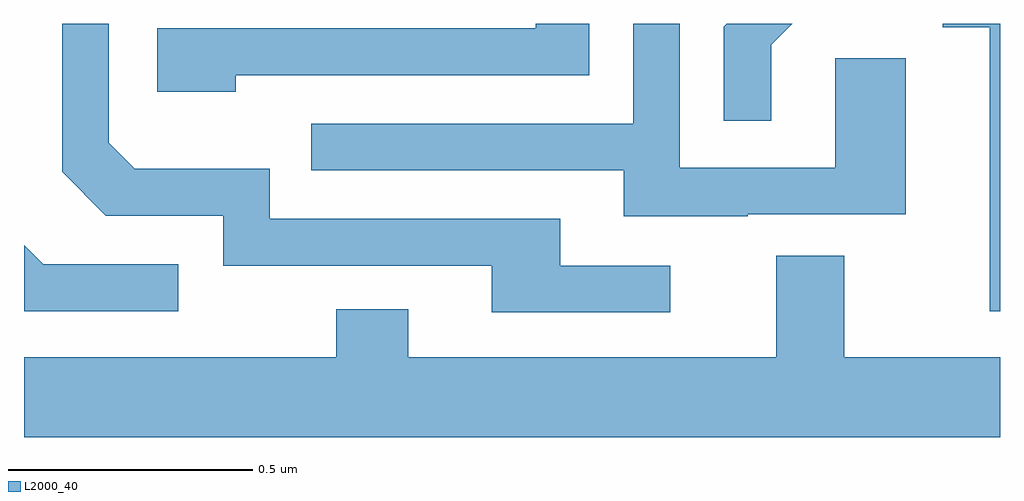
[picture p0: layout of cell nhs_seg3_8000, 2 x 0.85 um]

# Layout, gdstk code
import gdstk
lib = gdstk.Library(unit=1e-6, precision=1e-09)
def P(c, l, *ps):  # polygons
    for p in ps: c.add(gdstk.Polygon(p, *l))
L2000_40 = (2000, 40)

nhs_seg3_8000 = lib.new_cell('nhs_seg3_8000')
P(nhs_seg3_8000, L2000_40, [(211.324,731.904),(211.099,731.904),(211.099,732),(210.504,732),(210.504,732.103),(210.227,732.103),(210.174,732.156),(210.174,732.4),(210.078,732.4),(210.078,732.096),(210.168,732.006),(210.408,732.006),(210.408,731.904),(210.959,731.904),(210.959,731.808),(211.324,731.808)],
  [(211.483,732.009),(211.807,732.009),(211.807,732.329),(211.662,732.329),(211.662,732.105),(211.344,732.105),(211.344,732.4),(211.248,732.4),(211.248,732.195),(210.589,732.195),(210.589,732.099),(211.229,732.099),(211.229,732.005),(211.483,732.005)],
  [(210.434,732.294),(211.158,732.294),(211.158,732.4),(211.049,732.4),(211.049,732.39),(210.273,732.39),(210.273,732.26),(210.434,732.26)],
  [(211.531,732.357),(211.574,732.4),(211.44,732.4),(211.434,732.394),(211.434,732.201),(211.531,732.201)],
  [(212,732.4),(211.883,732.4),(211.883,732.392),(211.979,732.392),(211.979,731.811),(212,731.811)],
  [(210.316,731.907),(210.039,731.907),(210,731.946),(210,731.811),(210.316,731.811)],
  [(212,731.716),(211.681,731.716),(211.681,731.924),(211.541,731.924),(211.541,731.716),(210.787,731.716),(210.787,731.815),(210.64,731.815),(210.64,731.716),(210,731.716),(210,731.552),(212,731.552)])

lib.write_gds('nhs_seg3_8000.gds')
